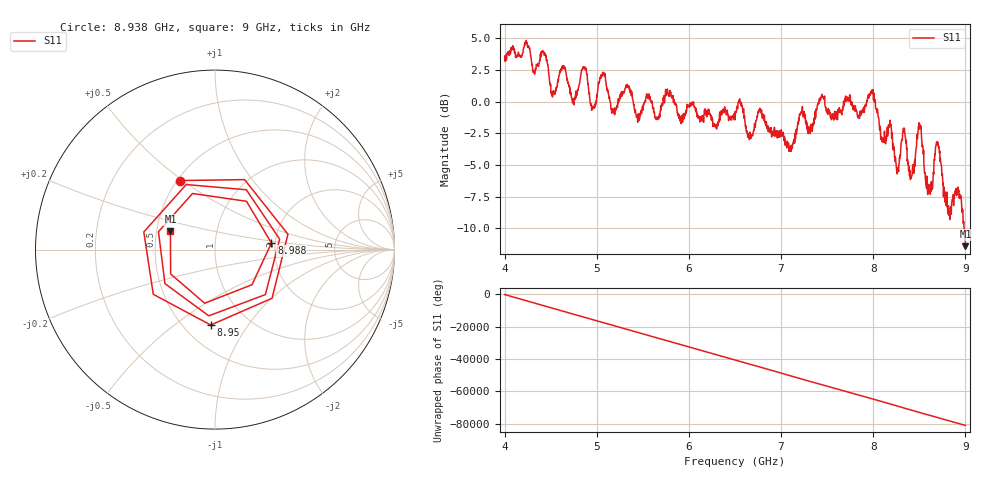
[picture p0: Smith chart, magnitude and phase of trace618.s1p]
! Created with skrf 1.8.0 (http://scikit-rf.org).
# Hz S RI R 50.0
!freq ReS11 ImS11
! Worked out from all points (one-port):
!   1601 points, 4 GHz to 9 GHz, reference 50 ohm
!   lowest |S11| = -11.4 dB at 9 GHz (marker M1), VSWR 1.74, Z = 29.6 + j6.56 ohm
!   |S11| at or under -10 dB: 8.988018 GHz to end of sweep
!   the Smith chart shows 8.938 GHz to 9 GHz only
!   S11 on the Smith chart (normalised r, x): 8.938 GHz: 0.52, +0.49; 8.95 GHz: 0.67, -0.69; 8.988 GHz: 1.91, +0.16; 9 GHz: 0.59, +0.13
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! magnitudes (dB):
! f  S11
! 4 GHz  3.5
! 4.425 GHz  3.9
! 4.528 GHz  0.9
! 4.625 GHz  2.8
! 4.741 GHz  0.1
! 4.859 GHz  2.7
! 4.953 GHz  -0.4
! 5.062 GHz  2.3
! 5.175 GHz  -0.7
! 5.25 GHz  0.5
! 5.875 GHz  -0.9
! 6.5 GHz  -1.4
! 7.125 GHz  -3.4
! 7.225 GHz  -0.8
! 7.75 GHz  0.5
! 7.984 GHz  0.7
! 8.256 GHz  -5.6
! 8.328 GHz  -2.1
! 8.375 GHz  -4.7
! 8.428 GHz  -5.0
! 8.5 GHz  -2.2
! 8.594 GHz  -6.6
! 8.697 GHz  -3.4
! 8.812 GHz  -8.7
! 8.938 GHz  -7.3
! 8.95 GHz  -7.5
! 8.988 GHz  -10.0
! 9 GHz  -11.4
